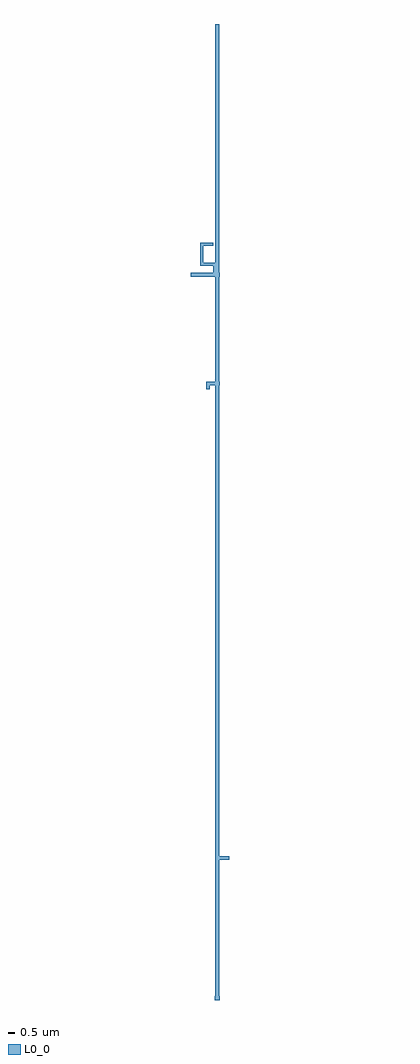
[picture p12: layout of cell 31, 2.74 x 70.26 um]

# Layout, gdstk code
import gdstk
lib = gdstk.Library(unit=1e-6, precision=1e-09)
def P(c, l, *ps):  # polygons
    for p in ps: c.add(gdstk.Polygon(p, *l))
L0_0 = (0, 0)

c_31 = lib.new_cell('31')
P(c_31, L0_0, [(901.7,974.26),(902.08,974.26),(902.08,973.98),(901.7,973.98),(901.7,974.26)],
  [(901.115,974.235),(902.005,974.235),(902.005,974.005),(901.115,974.005),(901.115,974.235)],
  [(901.115,973.7),(901.115,974.235),(901.345,974.235),(901.345,973.7),(901.115,973.7)],
  [(901.615,984.025),(900.89,984.025),(900.89,982.82),(901.85,982.82),(901.85,982.025),(902.085,982.025),(902.085,981.795),(901.62,981.795),(901.62,982.59),(900.66,982.59),(900.66,984.255),(901.615,984.255),(901.615,984.025)],
  [(901.7,982.1),(902.08,982.1),(902.08,981.82),(901.7,981.82),(901.7,982.1)],
  [(901.75,973.98),(901.75,982.1),(902.03,982.1),(902.03,973.98),(901.75,973.98)],
  [(901.7,974.26),(902.08,974.26),(902.08,973.98),(901.7,973.98),(901.7,974.26)],
  [(901.7,982.1),(902.08,982.1),(902.08,981.82),(901.7,981.82),(901.7,982.1)],
  [(900,982.1),(902.03,982.1),(902.03,981.82),(900,981.82),(900,982.1)],
  [(901.7,930.02),(902.08,930.02),(902.08,929.74),(901.7,929.74),(901.7,930.02)],
  [(902.36,940.1),(902.74,940.1),(902.74,939.82),(902.36,939.82),(902.36,940.1)],
  [(901.75,940.1),(902.69,940.1),(902.69,939.82),(901.75,939.82),(901.75,940.1)],
  [(902.03,1000),(902.03,939.82),(901.75,939.82),(901.75,1000),(902.03,1000)],
  [(901.75,929.74),(901.75,940.1),(902.03,940.1),(902.03,929.74),(901.75,929.74)],
  [(901.75,929.74),(901.75,940.1),(902.03,940.1),(902.03,929.74),(901.75,929.74)],
  [(902.03,1000),(902.03,939.82),(901.75,939.82),(901.75,1000),(902.03,1000)])

lib.write_gds('31.gds')
